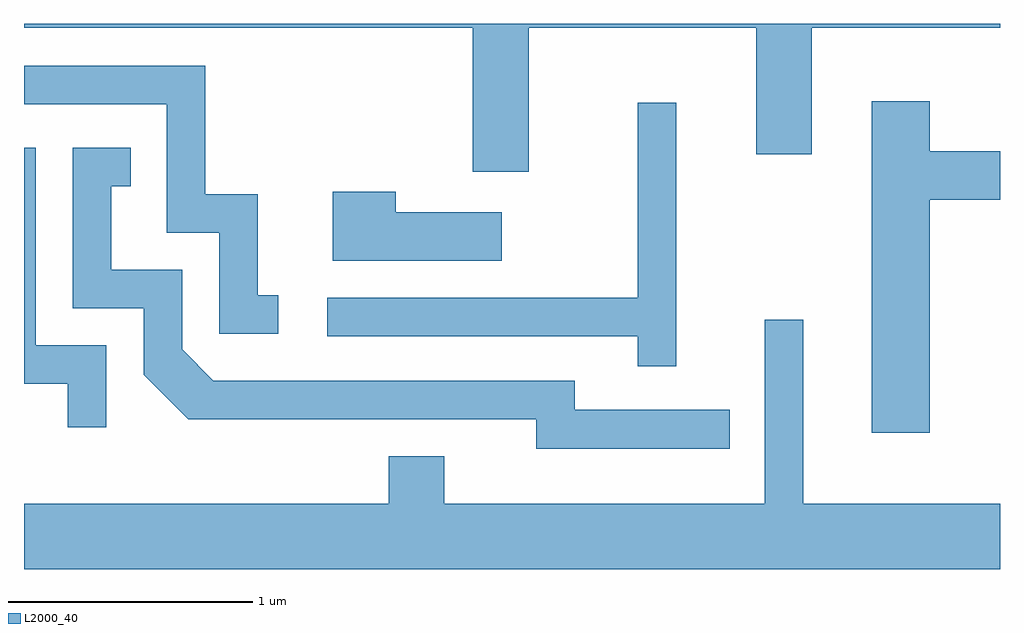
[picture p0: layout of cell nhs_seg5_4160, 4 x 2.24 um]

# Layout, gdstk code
import gdstk
lib = gdstk.Library(unit=1e-6, precision=1e-09)
def P(c, l, *ps):  # polygons
    for p in ps: c.add(gdstk.Polygon(p, *l))
L2000_40 = (2000, 40)

nhs_seg5_4160 = lib.new_cell('nhs_seg5_4160')
P(nhs_seg5_4160, L2000_40, [(309.679,1530.056),(310.611,1530.056),(310.611,1529.536),(310.839,1529.536),(310.839,1530.056),(311.611,1530.056),(311.611,1530.072),(307.611,1530.072),(307.611,1530.056),(309.451,1530.056),(309.451,1529.466),(309.679,1529.466)],
  [(308.653,1528.959),(308.569,1528.959),(308.569,1529.374),(308.354,1529.374),(308.354,1529.899),(307.611,1529.899),(307.611,1529.741),(308.196,1529.741),(308.196,1529.216),(308.411,1529.216),(308.411,1528.801),(308.653,1528.801)],
  [(311.324,1529.351),(311.611,1529.351),(311.611,1529.549),(311.324,1529.549),(311.324,1529.754),(311.086,1529.754),(311.086,1528.396),(311.324,1528.396)],
  [(310.284,1529.748),(310.126,1529.748),(310.126,1528.949),(308.853,1528.949),(308.853,1528.791),(310.126,1528.791),(310.126,1528.668),(310.284,1528.668)],
  [(307.949,1528.754),(307.659,1528.754),(307.659,1529.564),(307.611,1529.564),(307.611,1528.596),(307.791,1528.596),(307.791,1528.418),(307.949,1528.418)],
  [(310.503,1528.489),(309.869,1528.489),(309.869,1528.609),(308.387,1528.609),(308.259,1528.737),(308.259,1529.064),(307.969,1529.064),(307.969,1529.406),(308.048,1529.406),(308.048,1529.564),(307.811,1529.564),(307.811,1528.906),(308.101,1528.906),(308.101,1528.634),(308.284,1528.451),(309.711,1528.451),(309.711,1528.331),(310.503,1528.331)],
  [(309.569,1529.299),(309.134,1529.299),(309.134,1529.384),(308.876,1529.384),(308.876,1529.101),(309.569,1529.101)],
  [(311.611,1528.104),(310.804,1528.104),(310.804,1528.858),(310.646,1528.858),(310.646,1528.104),(309.334,1528.104),(309.334,1528.299),(309.106,1528.299),(309.106,1528.104),(307.611,1528.104),(307.611,1527.836),(311.611,1527.836)])

lib.write_gds('nhs_seg5_4160.gds')
